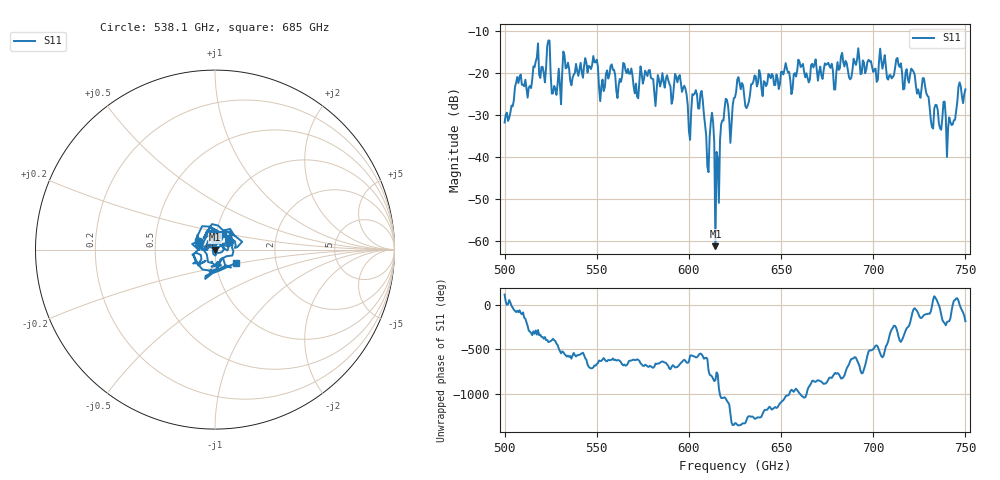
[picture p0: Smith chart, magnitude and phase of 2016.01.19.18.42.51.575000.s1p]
!Created with skrf (http://scikit-rf.org).
# GHz S RI R 50.0
!freq ReS11 ImS11
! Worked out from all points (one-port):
!   401 points, 500 GHz to 750 GHz, reference 50 ohm
!   lowest |S11| = -61.2 dB at 614.4 GHz (marker M1), VSWR 1.00, Z = 49.9 - j0.0675 ohm
!   |S11| at or under -10 dB: start of sweep to end of sweep
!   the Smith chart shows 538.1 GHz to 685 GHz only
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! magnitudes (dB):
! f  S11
! 500 GHz  -31.8
! 507.5 GHz  -22.5
! 513.8 GHz  -23.1
! 516.9 GHz  -17.3
! 520.6 GHz  -18.6
! 523.8 GHz  -12.3
! 526.9 GHz  -23.1
! 531.2 GHz  -20.0
! 548.8 GHz  -17.5
! 552.5 GHz  -23.2
! 558.1 GHz  -18.0
! 562.5 GHz  -21.5
! 593.8 GHz  -22.3
! 600 GHz  -33.9
! 606.9 GHz  -24.3
! 610 GHz  -42.3
! 612.5 GHz  -29.5
! 614.4 GHz  -61.2
! 615.6 GHz  -40.3
! 618.8 GHz  -31.4
! 623.1 GHz  -32.1
! 625 GHz  -25.9
! 656.2 GHz  -23.8
! 660.6 GHz  -18.7
! 687.5 GHz  -21.6
! 718.8 GHz  -21.5
! 741.2 GHz  -30.6
! 750 GHz  -24.0
